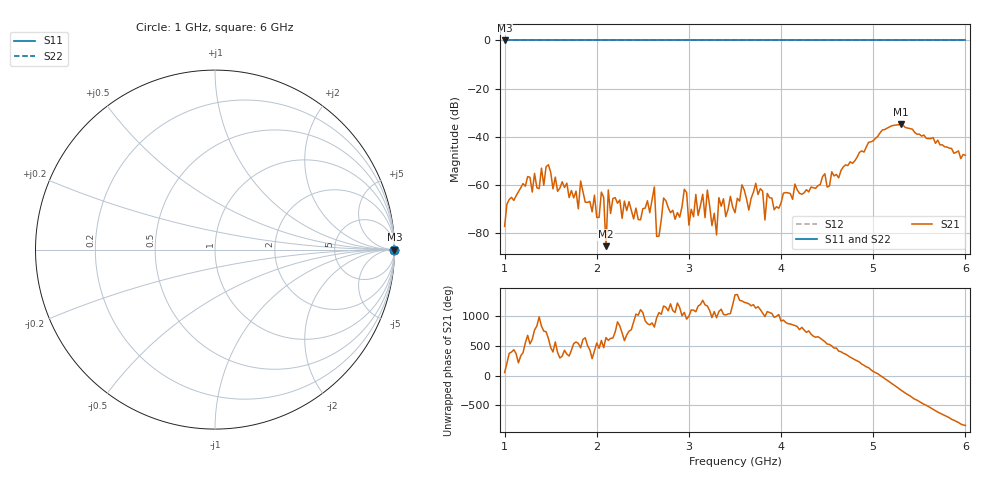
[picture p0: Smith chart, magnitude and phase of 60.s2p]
!Keysight Technologies N9926A: A.08.19
!Date: Sunday, 01 March 2026 13:32:59
!Timezone: (GMT-06:00) Central Time (US & Canada)
!Model: N9926A
!Serial: MY53102721
!GPS Latitude:
!GPS Longitude:
!GPS TimeStamp: 0001-01-01 00:00:00Z
!GPS Seconds Since Last Read: 0
!CHECKSUM:0056214137
!Correction: S11()S21(ON U)S12()S22()
!S2P File: Measurements:S11,S21,S12,S22:
# Hz S DB R 50
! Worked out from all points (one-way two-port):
!   201 points, 1 GHz to 6 GHz, reference 50 ohm
!   highest |S21| = -34.89 dB at 5.3 GHz (marker M1); lowest = -85.5 dB at 2.1 GHz (marker M2)
!   lowest |S11| = 0.0 dB at 1 GHz (marker M3)
!   |S11| at or under -10 dB: nowhere
!   |S22| runs from 0.0 to 0.0 dB; largest |S21 - S12| = 1
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1e9  0.00 0.0  -77.28 53.1  0.00 0.0  0.00 0.0
1.475e9  0.00 0.0  -51.65 -90.9  0.00 0.0  0.00 0.0
1.85e9  0.00 0.0  -62.89 -108.5  0.00 0.0  0.00 0.0
2.05e9  0.00 0.0  -63.02 -125.3  0.00 0.0  0.00 0.0
2.1e9  0.00 0.0  -85.49 -76.6  0.00 0.0  0.00 0.0
2.125e9  0.00 0.0  -62.14 -123.2  0.00 0.0  0.00 0.0
2.475e9  0.00 0.0  -74.53 34.1  0.00 0.0  0.00 0.0
2.625e9  0.00 0.0  -60.88 101.0  0.00 0.0  0.00 0.0
2.675e9  0.00 0.0  -81.35 -15.1  0.00 0.0  0.00 0.0
2.725e9  0.00 0.0  -65.49 95.6  0.00 0.0  0.00 0.0
2.85e9  0.00 0.0  -74.30 -12.5  0.00 0.0  0.00 0.0
2.95e9  0.00 0.0  -61.85 -11.6  0.00 0.0  0.00 0.0
3e9  0.00 0.0  -76.80 -77.6  0.00 0.0  0.00 0.0
3.2e9  0.00 0.0  -62.16 96.6  0.00 0.0  0.00 0.0
3.3e9  0.00 0.0  -80.79 -102.0  0.00 0.0  0.00 0.0
3.325e9  0.00 0.0  -65.33 2.7  0.00 0.0  0.00 0.0
3.5e9  0.00 0.0  -71.58 -75.1  0.00 0.0  0.00 0.0
3.575e9  0.00 0.0  -59.99 -178.0  0.00 0.0  0.00 0.0
4.35e9  0.00 0.0  -61.21 -52.1  0.00 0.0  0.00 0.0
5.175e9  0.00 0.0  -35.99 -103.4  0.00 0.0  0.00 0.0
5.3e9  0.00 0.0  -34.89 117.9  0.00 0.0  0.00 0.0
6e9  0.00 0.0  -47.69 -118.1  0.00 0.0  0.00 0.0
